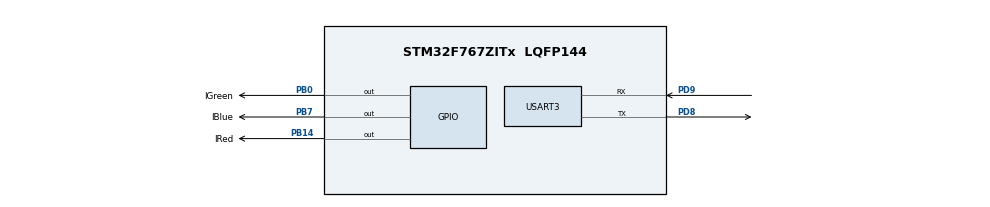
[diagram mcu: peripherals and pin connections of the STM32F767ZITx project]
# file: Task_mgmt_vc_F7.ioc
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FREERTOS.Events01=cmdEvent,Dynamic,NULL
FREERTOS.Queues01=controlMsgQueue,16,uint16_t,0,Dynamic,NULL,NULL
FREERTOS.Tasks01=defaultTask,24,128,StartDefaultTask,Default,NULL,Dynamic,NULL,NULL;controlTask,24,128,controlTaskImpl,Default,NULL,Dynamic,NULL,NULL;gp_led_Task,8,128,gp_led_TaskImpl,Default,NULL,Dynamic,NULL,NULL
FREERTOS.configUSE_NEWLIB_REENTRANT=1
Mcu.Family=STM32F7
Mcu.Name=STM32F767ZITx
Mcu.Package=LQFP144
NVIC.PriorityGroup=NVIC_PRIORITYGROUP_4
NVIC.TIM1_UP_TIM10_IRQn=true\:15\:0\:false\:false\:true\:false\:false\:true\:true
NVIC.TimeBase=TIM1_UP_TIM10_IRQn
NVIC.TimeBaseIP=TIM1
NVIC.USART3_IRQn=true\:5\:0\:false\:false\:true\:true\:true\:true\:true
PA13.Mode=Serial_Wire
PA13.Signal=SYS_JTMS-SWDIO
PA14.Mode=Serial_Wire
PA14.Signal=SYS_JTCK-SWCLK
PB0.GPIO_Label=IGreen
PB0.Signal=GPIO_Output
PB14.GPIO_Label=IRed
PB14.Signal=GPIO_Output
PB7.GPIO_Label=IBlue
PB7.Signal=GPIO_Output
PD8.Mode=Asynchronous
PD8.Signal=USART3_TX
PD9.Mode=Asynchronous
PD9.Signal=USART3_RX
ProjectManager.HeapSize=0x200
ProjectManager.StackSize=0x400
ProjectManager.TargetToolchain=STM32CubeIDE
RCC.HSE_VALUE=25000000
RCC.HSI_VALUE=16000000
RCC.LSE_VALUE=32768
RCC.USBFreq_Value=96000000
RCC.VCOOutputFreq_Value=192000000
USART3.VirtualMode-Asynchronous=VM_ASYNC
VP_FREERTOS_VS_CMSIS_V2.Mode=CMSIS_V2
VP_SYS_VS_tim1.Mode=TIM1
board=custom

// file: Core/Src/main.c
/* USER CODE BEGIN Header */
/**
  ******************************************************************************
  * @file           : main.c
  * @brief          : Main program body
  ******************************************************************************
  * @attention
  *
  * Copyright (c) 2023 STMicroelectronics.
  * All rights reserved.
  *
  * This software is licensed under terms that can be found in the LICENSE file
  * in the root directory of this software component.
  * If no LICENSE file comes with this software, it is provided AS-IS.
  *
  ******************************************************************************
  */
/* USER CODE END Header */
#include "main.h"
#include "cmsis_os.h"
#include "core_json.h"
#include <string.h>

UART_HandleTypeDef huart3;

/* Definitions for defaultTask */
osThreadId_t defaultTaskHandle;
const osThreadAttr_t defaultTask_attributes = {
  .name = "defaultTask",
  .stack_size = 128 * 4,
  .priority = (osPriority_t) osPriorityNormal,
};
/* Definitions for controlTask */
osThreadId_t controlTaskHandle;
const osThreadAttr_t controlTask_attributes = {
  .name = "controlTask",
  .stack_size = 128 * 4,
  .priority = (osPriority_t) osPriorityNormal,
};
/* Definitions for gp_led_Task */
osThreadId_t gp_led_TaskHandle;
const osThreadAttr_t gp_led_Task_attributes = {
  .name = "gp_led_Task",
  .stack_size = 128 * 4,
  .priority = (osPriority_t) osPriorityLow,
};
/* Definitions for controlMsgQueue */
osMessageQueueId_t controlMsgQueueHandle;
const osMessageQueueAttr_t controlMsgQueue_attributes = {
  .name = "controlMsgQueue"
};
/* Definitions for cmdEvent */
osEventFlagsId_t cmdEventHandle;
const osEventFlagsAttr_t cmdEvent_attributes = {
  .name = "cmdEvent"
};

void SystemClock_Config(void);
static void MX_GPIO_Init(void);
static void MX_USART3_UART_Init(void);
void StartDefaultTask(void *argument);
void controlTaskImpl(void *argument);
void gp_led_TaskImpl(void *argument);

/* USER CODE BEGIN 0 */

/*
 * Control message format Ver. 1.
 *  char ctrl_msg[] =
 *  "{
 *  	\"sen\":\"<three letter code i.e. LED, C02, PIR>\",
 *  	\"sid\":\"<two integer code i.e. 01, 02, ...>\",
 *  	\"cmd\":\"<three letter sensor command i.e. XON, OFF, JAW, >\",
 *  	\"tid\":\"<unique transaction id i.e. date-time>\"
 *  }
 * */

// 2. Define the message queue message format.
typedef struct{
	uint8_t buffer[16];
	uint8_t sID;
} MSQ_TYPE;

#define CMD_RX_EVNT  0x00000001U // Command received event.
#define LED_ON_EVNT  0x00000002U // LED on event.
#define LED_OFF_EVNT 0x00000004U // LED off event.

// 6. Wrapper that initiate event flags
void ledControl(const uint8_t *args);
void c02Control(const uint8_t *args);

// Perhaps a hash table be better
struct {
	char *command;
	void(*funcion)();
} commandList[] = {
	{"led", ledControl},
	{"c02", c02Control}
};

/* USER CODE END 0 */

int main(void)
{

  /* MCU Configuration--------------------------------------------------------*/

  /* Reset of all peripherals, Initializes the Flash interface and the Systick. */
  HAL_Init();

  /* Configure the system clock */
  SystemClock_Config();

  /* Initialize all configured peripherals */
  MX_GPIO_Init();
  MX_USART3_UART_Init();

  /* Init scheduler */
  osKernelInitialize();

  /* Create the queue(s) */
  /* creation of controlMsgQueue */
  controlMsgQueueHandle = osMessageQueueNew (16, sizeof(uint16_t), &controlMsgQueue_attributes);

  /* Create the thread(s) */
  /* creation of defaultTask */
  defaultTaskHandle = osThreadNew(StartDefaultTask, NULL, &defaultTask_attributes);

  /* creation of controlTask */
  controlTaskHandle = osThreadNew(controlTaskImpl, NULL, &controlTask_attributes);

  /* creation of gp_led_Task */
  gp_led_TaskHandle = osThreadNew(gp_led_TaskImpl, NULL, &gp_led_Task_attributes);

  /* Create the event(s) */
  /* creation of cmdEvent */
  cmdEventHandle = osEventFlagsNew(&cmdEvent_attributes);
  if (cmdEventHandle == NULL) {
    ; // Log the failure if anything goes wrong
  }

  /* Start scheduler */
  osKernelStart();

  /* We should never get here as control is now taken by the scheduler */
  /* Infinite loop */
  while (1)
  {

  }
}

void SystemClock_Config(void)
{
  RCC_OscInitTypeDef RCC_OscInitStruct = {0};
  RCC_ClkInitTypeDef RCC_ClkInitStruct = {0};

  /** Configure the main internal regulator output voltage
  */
  __HAL_RCC_PWR_CLK_ENABLE();
  __HAL_PWR_VOLTAGESCALING_CONFIG(PWR_REGULATOR_VOLTAGE_SCALE3);

  /** Initializes the RCC Oscillators according to the specified parameters
  * in the RCC_OscInitTypeDef structure.
  */
  RCC_OscInitStruct.OscillatorType = RCC_OSCILLATORTYPE_HSI;
  RCC_OscInitStruct.HSIState = RCC_HSI_ON;
  RCC_OscInitStruct.HSICalibrationValue = RCC_HSICALIBRATION_DEFAULT;
  RCC_OscInitStruct.PLL.PLLState = RCC_PLL_NONE;
  if (HAL_RCC_OscConfig(&RCC_OscInitStruct) != HAL_OK)
  {
    Error_Handler();
  }

  /** Initializes the CPU, AHB and APB buses clocks
  */
  RCC_ClkInitStruct.ClockType = RCC_CLOCKTYPE_HCLK|RCC_CLOCKTYPE_SYSCLK
                              |RCC_CLOCKTYPE_PCLK1|RCC_CLOCKTYPE_PCLK2;
  RCC_ClkInitStruct.SYSCLKSource = RCC_SYSCLKSOURCE_HSI;
  RCC_ClkInitStruct.AHBCLKDivider = RCC_SYSCLK_DIV1;
  RCC_ClkInitStruct.APB1CLKDivider = RCC_HCLK_DIV1;
  RCC_ClkInitStruct.APB2CLKDivider = RCC_HCLK_DIV1;

  if (HAL_RCC_ClockConfig(&RCC_ClkInitStruct, FLASH_LATENCY_0) != HAL_OK)
  {
    Error_Handler();
  }
}

static void MX_USART3_UART_Init(void)
{

  huart3.Instance = USART3;
  huart3.Init.BaudRate = 115200;
  huart3.Init.WordLength = UART_WORDLENGTH_8B;
  huart3.Init.StopBits = UART_STOPBITS_1;
  huart3.Init.Parity = UART_PARITY_NONE;
  huart3.Init.Mode = UART_MODE_TX_RX;
  huart3.Init.HwFlowCtl = UART_HWCONTROL_NONE;
  huart3.Init.OverSampling = UART_OVERSAMPLING_16;
  huart3.Init.OneBitSampling = UART_ONE_BIT_SAMPLE_DISABLE;
  huart3.AdvancedInit.AdvFeatureInit = UART_ADVFEATURE_NO_INIT;
  if (HAL_UART_Init(&huart3) != HAL_OK)
  {
    Error_Handler();
  }

}

static void MX_GPIO_Init(void)
{
  GPIO_InitTypeDef GPIO_InitStruct = {0};

  /* GPIO Ports Clock Enable */
  __HAL_RCC_GPIOB_CLK_ENABLE();
  __HAL_RCC_GPIOD_CLK_ENABLE();
  __HAL_RCC_GPIOA_CLK_ENABLE();

  /*Configure GPIO pin Output Level */
  HAL_GPIO_WritePin(GPIOB, IGreen_Pin|IRed_Pin|IBlue_Pin, GPIO_PIN_RESET);

  /*Configure GPIO pins : IGreen_Pin IRed_Pin IBlue_Pin */
  GPIO_InitStruct.Pin = IGreen_Pin|IRed_Pin|IBlue_Pin;
  GPIO_InitStruct.Mode = GPIO_MODE_OUTPUT_PP;
  GPIO_InitStruct.Pull = GPIO_NOPULL;
  GPIO_InitStruct.Speed = GPIO_SPEED_FREQ_LOW;
  HAL_GPIO_Init(GPIOB, &GPIO_InitStruct);

}

/* USER CODE BEGIN 4 */
void HAL_UART_RxCpltCallback(UART_HandleTypeDef *huart)
{
	char			buffer[30];
	MSQ_TYPE    	msg;
	osStatus_t   	msq_status;
	JSONStatus_t 	json_status;

	// Receive a fixed size JSON formatted message
	HAL_UART_Receive_IT(&huart3, buffer, sizeof(buffer));
	// Validate that the JSON message format is correct
	json_status = JSON_Validate(buffer, sizeof(buffer)-1);

	if(json_status == JSONSuccess) {
		// Prepare the control message
		strcpy(msg.buffer, buffer);
		msg.sID = 0U;
		// Place the control message in the message queue
		msq_status = osMessageQueuePut(controlMsgQueueHandle, &msg, 0U, 0U);
		if(msq_status == osOk){
			// Signal the control task
			osEventFlagsSet(cmdEventHandle, CMD_RX_EVNT);
		}
	}
}

void ledControl(const uint8_t *args){
	char id[4];
	// Extract the ID and option
	strncpy(id, (char*)args, 3);
	id[3] = '\x0';
}

/* USER CODE END 4 */

void StartDefaultTask(void *argument)
{
	for(;;)
	{
		osDelay(1);
	}
}

void controlTaskImpl(void *argument)
{
	/* USER CODE BEGIN controlTaskImpl */
	osStatus_t   msq_status;
	JSONStatus_t json_status;
	char key[] = "st";
	char *value;
	size_t valueLength;
	MSQ_TYPE msg;

	/* Infinite loop */
	for(;;)
	{
		/*
		 * Block the task until it is notified that a control message has been placed in the
		 * control message queue. The notification is re-setted to its initial setting.
		 */
		osEventFlagsWait(cmdEventHandle, CMD_RX_EVNT, osFlagsWaitAll, osWaitForever);

		// Extract the control message from the message queue
		msq_status = osMessageQueueGet(controlMsgQueueHandle, &msg, NULL, 0U);
		if(msq_status == osOK) {

			// Extract the requested command and its arguments
			json_status = JSON_Search( msg.buffer, sizeof(msg.buffer)-1,
					key, sizeof(key)-1, &value, &valueLength );

			if(json_status == JSONSuccess) {
				/*
				 * An object (I/O) Each I/O object hash its state. A task manages an object
				 * based on its state. The task either blocks or change behavior when state
				 * change occurs.
				 *
				 */

			/*
			 * The object attributed are:
			 * - The sensor handle.
			 * - The sensor/actuator state.
			 * - The sensor/actuator notification flag.
			 */

			}

			// It is better to use a hash table
			int i, found = 0;
			for(i=0; i<sizeof(commandList)/sizeof(commandList[0]); i++){
				if(strcmp(cmd, commandList[i].command) == 0){
					commandList[i].funcion(arg);
					break;
				}
			}

			if(!found){
				; //log the error
			}
		}
		osThreadYield();

	}
	/* USER CODE END controlTaskImpl */
}

void gp_led_TaskImpl(void *argument)
{
  for(;;)
  {
    osDelay(1);
  }
}

void HAL_TIM_PeriodElapsedCallback(TIM_HandleTypeDef *htim)
{
  if (htim->Instance == TIM1) {
    HAL_IncTick();
  }
}

void Error_Handler(void)
{
  __disable_irq();
  while (1)
  {
  }
}
